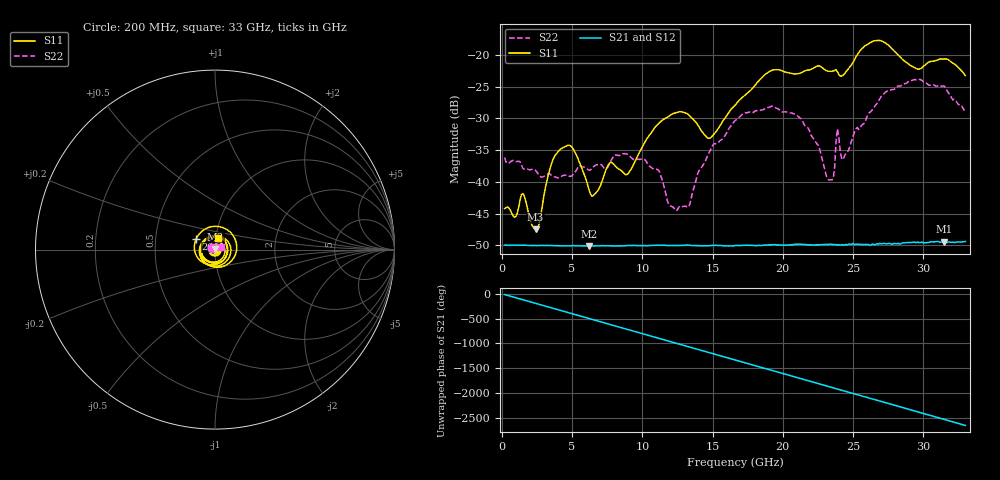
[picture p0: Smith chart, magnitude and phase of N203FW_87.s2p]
# GHZ S RI R 50
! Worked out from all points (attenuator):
!   329 points, 200 MHz to 33 GHz, reference 50 ohm
!   highest |S21| = -49.39 dB at 31.5 GHz (marker M1); lowest = -50.1 dB at 6.2 GHz (marker M2)
!   lowest |S11| = -47.4 dB at 2.4 GHz (marker M3), VSWR 1.01, Z = 50.2 + j0.356 ohm
!   |S11| at or under -10 dB: start of sweep to end of sweep
!   |S22| runs from -44.5 to -23.8 dB; largest |S21 - S12| = 8.8e-05
!   S11 on the Smith chart (normalised r, x): 200 MHz: 1.01, +0.01; 26 GHz: 0.80, +0.10; 33 GHz: 1.03, +0.14
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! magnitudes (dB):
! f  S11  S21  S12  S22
! 200 MHz  -44.2  -50.0  -49.9  -36.1
! 1.5 GHz  -41.8  -50.0  -50.0  -37.9
! 2.4 GHz  -47.4  -50.0  -50.0  -38.2
! 3.8 GHz  -35.8  -50.1  -50.0  -39.2
! 5.7 GHz  -37.9  -50.1  -50.1  -37.6
! 6.2 GHz  -41.2  -50.1  -50.1  -38.2
! 7.7 GHz  -37.0  -50.1  -50.1  -37.0
! 9 GHz  -38.7  -50.0  -50.0  -35.7
! 11.2 GHz  -30.7  -50.0  -50.0  -38.3
! 11.9 GHz  -29.6  -50.0  -50.0  -43.6
! 13.3 GHz  -29.4  -50.0  -50.0  -43.9
! 14.8 GHz  -33.1  -50.0  -50.0  -35.2
! 16.6 GHz  -27.9  -50.0  -50.0  -30.3
! 19.3 GHz  -22.4  -49.9  -49.9  -28.1
! 22.1 GHz  -22.2  -49.9  -49.9  -32.9
! 23.5 GHz  -22.6  -49.8  -49.8  -39.7
! 23.9 GHz  -22.7  -49.9  -49.9  -31.6
! 24.3 GHz  -23.2  -49.9  -49.8  -36.5
! 26 GHz  -18.3  -49.9  -49.9  -29.7
! 27.6 GHz  -18.6  -49.7  -49.7  -25.6
! 31.5 GHz  -20.6  -49.4  -49.3  -24.9
! 33 GHz  -23.3  -49.4  -49.4  -28.9
